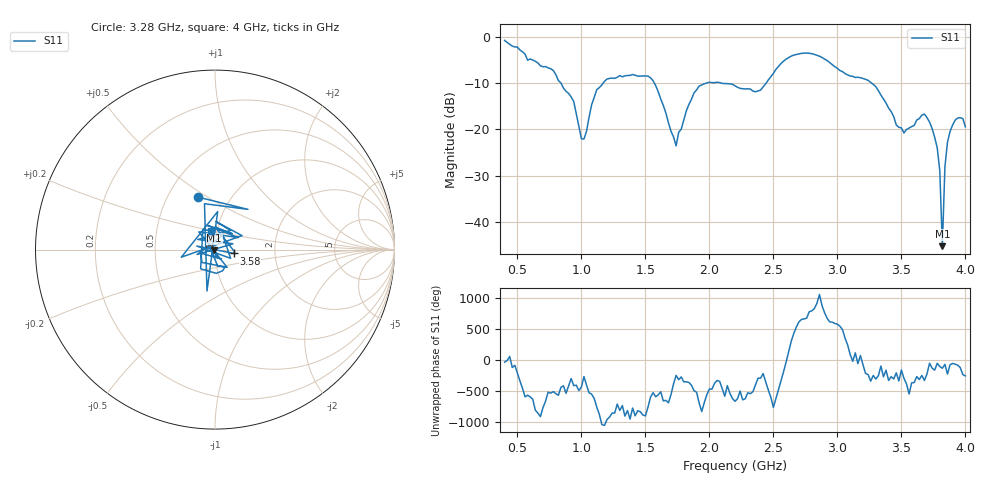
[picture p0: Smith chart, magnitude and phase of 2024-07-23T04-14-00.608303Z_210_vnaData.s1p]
!Created with skrf (http://scikit-rf.org).
# Hz S RI R 50.0
!freq ReS11 ImS11
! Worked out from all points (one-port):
!   181 points, 400 MHz to 4 GHz, reference 50 ohm
!   lowest |S11| = -45.3 dB at 3.82 GHz (marker M1), VSWR 1.01, Z = 49.6 - j0.372 ohm
!   |S11| at or under -10 dB: 1.57 GHz to 1.979 GHz (408.9 MHz wide, 23 % of centre); 2.093 GHz to 2.443 GHz (350.4 MHz wide, 15.4 % of centre); 3.268 GHz to end of sweep (the widest 3 of 4)
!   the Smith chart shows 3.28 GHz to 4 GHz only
!   S11 on the Smith chart (normalised r, x): 3.28 GHz: 0.71, +0.46; 3.58 GHz: 1.23, -0.05; 4 GHz: 0.94, +0.20
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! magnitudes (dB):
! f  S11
! 400 MHz  -0.8
! 780 MHz  -7.3
! 860 MHz  -11.1
! 940 MHz  -14.0
! 1 GHz  -22.0
! 1.02 GHz  -22.1
! 1.12 GHz  -11.4
! 1.3 GHz  -8.4
! 1.54 GHz  -8.9
! 1.74 GHz  -23.6
! 1.76 GHz  -20.7
! 1.92 GHz  -10.7
! 2.2 GHz  -10.6
! 2.4 GHz  -11.5
! 2.66 GHz  -3.9
! 3.1 GHz  -8.5
! 3.28 GHz  -10.3
! 3.46 GHz  -19.1
! 3.56 GHz  -19.7
! 3.58 GHz  -19.4
! 3.68 GHz  -16.7
! 3.76 GHz  -21.7
! 3.8 GHz  -28.9
! 3.82 GHz  -45.3
! 3.84 GHz  -28.1
! 3.86 GHz  -22.8
! 3.92 GHz  -18.0
! 4 GHz  -19.5
